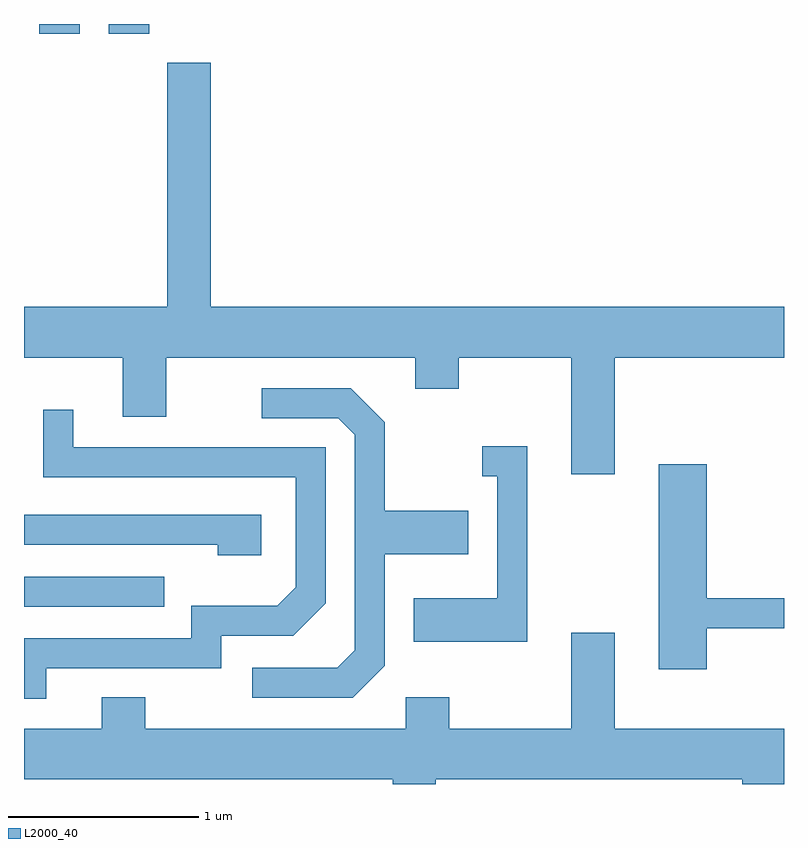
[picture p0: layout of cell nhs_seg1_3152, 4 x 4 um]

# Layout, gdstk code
import gdstk
lib = gdstk.Library(unit=1e-6, precision=1e-09)
def R(c, l, rs):  # rectangles x0, y0, x1, y1
    for r in rs: c.add(gdstk.rectangle(r[:2], r[2:], *l))
def P(c, l, *ps):  # polygons
    for p in ps: c.add(gdstk.Polygon(p, *l))
L2000_40 = (2000, 40)

nhs_seg1_3152 = lib.new_cell('nhs_seg1_3152')
R(nhs_seg1_3152, L2000_40, [(279.611,962.646,280.348,962.804), (279.691,965.661,279.904,965.712), (280.056,965.661,280.269,965.712)])
P(nhs_seg1_3152, L2000_40, [(279.611,963.956),(280.131,963.956),(280.131,963.646),(280.359,963.646),(280.359,963.956),(281.671,963.956),(281.671,963.791),(281.899,963.791),(281.899,963.956),(282.491,963.956),(282.491,963.341),(282.719,963.341),(282.719,963.956),(283.611,963.956),(283.611,964.224),(280.594,964.224),(280.594,965.509),(280.366,965.509),(280.366,964.224),(279.611,964.224)],
  [(281.509,962.334),(281.509,962.921),(281.949,962.921),(281.949,963.149),(281.509,963.149),(281.509,963.617),(281.332,963.794),(280.863,963.794),(280.863,963.636),(281.264,963.636),(281.351,963.549),(281.351,962.417),(281.259,962.324),(280.813,962.324),(280.813,962.166),(281.342,962.166)],
  [(279.729,962.321),(280.649,962.321),(280.649,962.491),(281.027,962.491),(281.199,962.664),(281.199,963.484),(279.869,963.484),(279.869,963.683),(279.711,963.683),(279.711,963.326),(281.041,963.326),(281.041,962.747),(280.944,962.649),(280.491,962.649),(280.491,962.479),(279.611,962.479),(279.611,962.161),(279.729,962.161)],
  [(282.259,963.489),(282.023,963.489),(282.023,963.331),(282.101,963.331),(282.101,962.689),(281.661,962.689),(281.661,962.461),(282.259,962.461)],
  [(283.204,962.531),(283.611,962.531),(283.611,962.689),(283.204,962.689),(283.204,963.394),(282.951,963.394),(282.951,962.316),(283.204,962.316)],
  [(280.859,963.129),(279.611,963.129),(279.611,962.971),(280.631,962.971),(280.631,962.916),(280.859,962.916)],
  [(281.779,961.736),(283.391,961.736),(283.391,961.712),(283.611,961.712),(283.611,962.004),(282.719,962.004),(282.719,962.509),(282.491,962.509),(282.491,962.004),(281.849,962.004),(281.849,962.169),(281.621,962.169),(281.621,962.004),(280.249,962.004),(280.249,962.169),(280.021,962.169),(280.021,962.004),(279.611,962.004),(279.611,961.736),(281.551,961.736),(281.551,961.712),(281.779,961.712)])

lib.write_gds('nhs_seg1_3152.gds')
